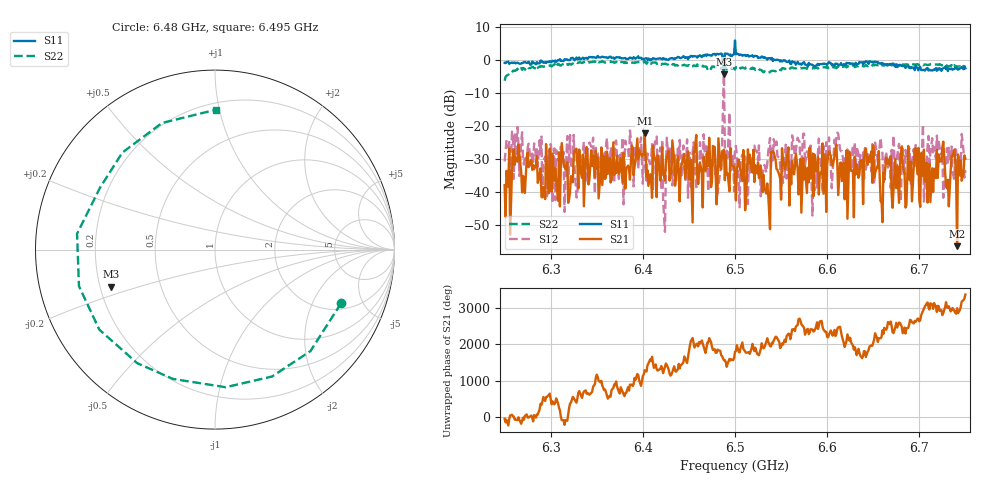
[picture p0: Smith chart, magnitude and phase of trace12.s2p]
# Hz S RI R 50
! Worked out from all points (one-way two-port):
!   401 points, 6.25 GHz to 6.75 GHz, reference 50 ohm
!   highest |S21| = -22.20 dB at 6.402 GHz (marker M1); lowest = -56.6 dB at 6.741 GHz (marker M2)
!   lowest |S11| = -4.2 dB at 6.488 GHz (marker M3), VSWR 4.20, Z = 12.2 - j8.16 ohm
!   |S11| at or under -10 dB: nowhere
!   |S22| runs from -6.2 to -0.2 dB; largest |S21 - S12| = 0.79
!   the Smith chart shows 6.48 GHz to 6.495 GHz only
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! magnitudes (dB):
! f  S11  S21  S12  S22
! 6.25 GHz  -0.8  -38.0  -30.8  -6.2
! 6.262 GHz  -0.9  -29.5  -29.4  -3.1
! 6.291 GHz  -0.5  -41.7  -41.9  -1.8
! 6.334 GHz  0.6  -35.8  -31.9  -0.8
! 6.402 GHz  0.5  -22.2  -25.4  -0.2
! 6.418 GHz  0.6  -32.3  -28.5  -0.8
! 6.422 GHz  0.7  -34.0  -42.7  -1.2
! 6.429 GHz  0.5  -36.6  -26.2  -1.6
! 6.481 GHz  2.0  -38.6  -40.5  -2.2
! 6.488 GHz  -4.2  -27.2  -2.4  -2.1
! 6.5 GHz  6.0  -34.8  -26.3  -2.8
! 6.535 GHz  0.2  -37.5  -31.6  -3.9
! 6.541 GHz  -0.2  -27.7  -30.4  -3.2
! 6.584 GHz  -1.4  -28.3  -47.3  -2.5
! 6.61 GHz  -1.0  -25.7  -23.6  -2.4
! 6.645 GHz  -1.1  -29.4  -27.9  -1.6
! 6.66 GHz  -1.1  -49.2  -28.3  -1.6
! 6.668 GHz  -1.1  -31.9  -29.6  -1.1
! 6.715 GHz  -2.9  -40.1  -28.6  -1.3
! 6.724 GHz  -3.2  -30.8  -28.8  -1.5
! 6.741 GHz  -2.6  -56.6  -32.9  -2.1
! 6.75 GHz  -2.4  -29.9  -33.5  -2.1
